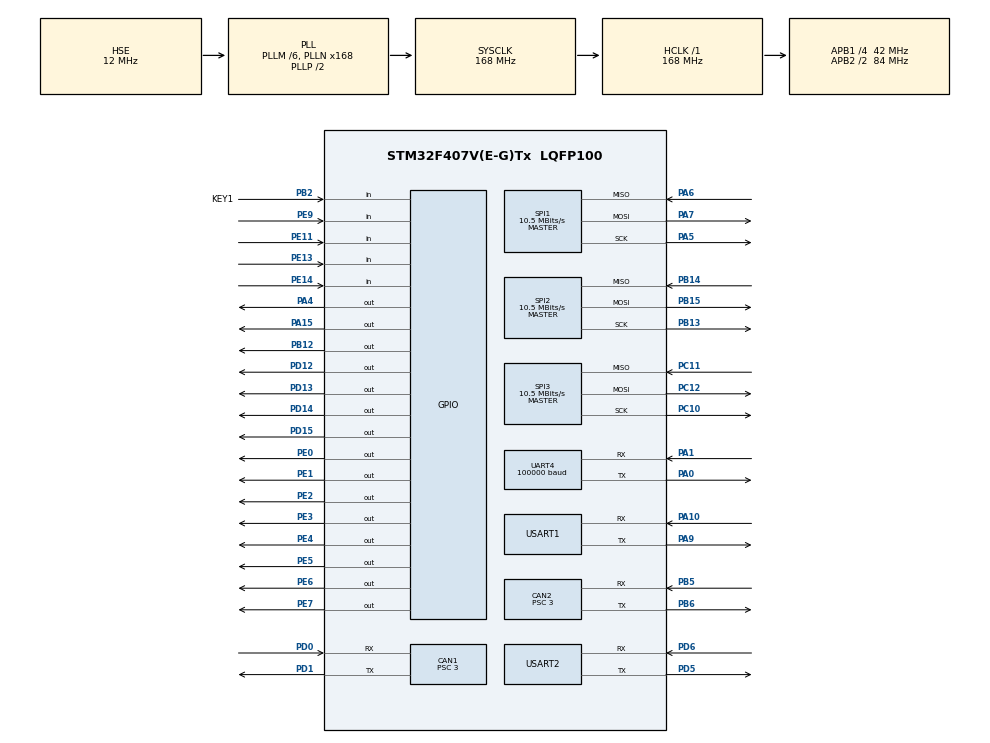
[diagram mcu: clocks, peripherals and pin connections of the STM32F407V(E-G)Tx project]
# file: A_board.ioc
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CAN1.BS1=CAN_BS1_9TQ
CAN1.BS2=CAN_BS2_4TQ
CAN1.CalculateBaudRate=1000000
CAN1.CalculateTimeBit=1000
CAN1.CalculateTimeQuantum=71.42857142857143
CAN1.Prescaler=3
CAN2.BS1=CAN_BS1_9TQ
CAN2.BS2=CAN_BS2_4TQ
CAN2.CalculateBaudRate=1000000
CAN2.CalculateTimeBit=1000
CAN2.CalculateTimeQuantum=71.42857142857143
CAN2.Prescaler=3
Dma.Request0=UART4_RX
Dma.Request1=USART1_RX
Dma.Request2=USART2_TX
Dma.UART4_RX.0.Direction=DMA_PERIPH_TO_MEMORY
Dma.UART4_RX.0.FIFOMode=DMA_FIFOMODE_DISABLE
Dma.UART4_RX.0.Instance=DMA1_Stream2
Dma.UART4_RX.0.MemDataAlignment=DMA_MDATAALIGN_BYTE
Dma.UART4_RX.0.MemInc=DMA_MINC_ENABLE
Dma.UART4_RX.0.Mode=DMA_CIRCULAR
Dma.UART4_RX.0.PeriphDataAlignment=DMA_PDATAALIGN_BYTE
Dma.UART4_RX.0.PeriphInc=DMA_PINC_DISABLE
Dma.UART4_RX.0.Priority=DMA_PRIORITY_MEDIUM
Dma.USART1_RX.1.Direction=DMA_PERIPH_TO_MEMORY
Dma.USART1_RX.1.FIFOMode=DMA_FIFOMODE_DISABLE
Dma.USART1_RX.1.Instance=DMA2_Stream2
Dma.USART1_RX.1.MemDataAlignment=DMA_MDATAALIGN_BYTE
Dma.USART1_RX.1.MemInc=DMA_MINC_ENABLE
Dma.USART1_RX.1.Mode=DMA_CIRCULAR
Dma.USART1_RX.1.PeriphDataAlignment=DMA_PDATAALIGN_BYTE
Dma.USART1_RX.1.PeriphInc=DMA_PINC_DISABLE
Dma.USART1_RX.1.Priority=DMA_PRIORITY_MEDIUM
Dma.USART2_TX.2.Direction=DMA_MEMORY_TO_PERIPH
Dma.USART2_TX.2.FIFOMode=DMA_FIFOMODE_DISABLE
Dma.USART2_TX.2.Instance=DMA1_Stream6
Dma.USART2_TX.2.MemDataAlignment=DMA_MDATAALIGN_BYTE
Dma.USART2_TX.2.MemInc=DMA_MINC_ENABLE
Dma.USART2_TX.2.Mode=DMA_NORMAL
Dma.USART2_TX.2.PeriphDataAlignment=DMA_PDATAALIGN_BYTE
Dma.USART2_TX.2.PeriphInc=DMA_PINC_DISABLE
Dma.USART2_TX.2.Priority=DMA_PRIORITY_HIGH
FREERTOS.INCLUDE_vTaskDelayUntil=1
FREERTOS.Tasks01=defaultTask,0,128,StartDefaultTask,Default,NULL,Dynamic,NULL,NULL
FREERTOS.configENABLE_FPU=1
FREERTOS.configTOTAL_HEAP_SIZE=20000
Mcu.Family=STM32F4
Mcu.Name=STM32F407V(E-G)Tx
Mcu.Package=LQFP100
NVIC.CAN1_RX0_IRQn=true\:5\:0\:false\:false\:true\:true\:true\:true\:true
NVIC.CAN2_RX1_IRQn=true\:5\:0\:false\:false\:true\:true\:true\:true\:true
NVIC.DMA1_Stream2_IRQn=true\:5\:0\:false\:false\:true\:true\:false\:true\:true
NVIC.DMA1_Stream6_IRQn=true\:5\:0\:false\:false\:true\:true\:false\:true\:true
NVIC.DMA2_Stream2_IRQn=true\:5\:0\:false\:false\:true\:true\:false\:true\:true
NVIC.PriorityGroup=NVIC_PRIORITYGROUP_4
NVIC.TIM8_TRG_COM_TIM14_IRQn=true\:15\:0\:false\:false\:true\:false\:false\:true\:true
NVIC.TimeBase=TIM8_TRG_COM_TIM14_IRQn
NVIC.TimeBaseIP=TIM14
NVIC.USART2_IRQn=true\:5\:0\:false\:false\:true\:true\:true\:true\:true
PA0-WKUP.Mode=Asynchronous
PA0-WKUP.Signal=UART4_TX
PA1.Mode=Asynchronous
PA1.Signal=UART4_RX
PA10.Mode=Asynchronous
PA10.Signal=USART1_RX
PA13.Mode=Serial_Wire
PA13.Signal=SYS_JTMS-SWDIO
PA14.Mode=Serial_Wire
PA14.Signal=SYS_JTCK-SWCLK
PA15.Signal=GPIO_Output
PA4.Signal=GPIO_Output
PA5.Mode=Full_Duplex_Master
PA5.Signal=SPI1_SCK
PA6.Mode=Full_Duplex_Master
PA6.Signal=SPI1_MISO
PA7.Mode=Full_Duplex_Master
PA7.Signal=SPI1_MOSI
PA9.Mode=Asynchronous
PA9.Signal=USART1_TX
PB12.PinState=GPIO_PIN_RESET
PB12.Signal=GPIO_Output
PB13.Mode=Full_Duplex_Master
PB13.Signal=SPI2_SCK
PB14.Mode=Full_Duplex_Master
PB14.Signal=SPI2_MISO
PB15.Mode=Full_Duplex_Master
PB15.Signal=SPI2_MOSI
PB2.GPIO_Label=KEY1
PB2.GPIO_PuPd=GPIO_PULLDOWN
PB2.Signal=GPIO_Input
PB5.Mode=CAN_Activate
PB5.Signal=CAN2_RX
PB6.Mode=CAN_Activate
PB6.Signal=CAN2_TX
PC10.Mode=Full_Duplex_Master
PC10.Signal=SPI3_SCK
PC11.Mode=Full_Duplex_Master
PC11.Signal=SPI3_MISO
PC12.Mode=Full_Duplex_Master
PC12.Signal=SPI3_MOSI
PD0.Mode=CAN_Activate
PD0.Signal=CAN1_RX
PD1.Mode=CAN_Activate
PD1.Signal=CAN1_TX
PD12.GPIO_PuPd=GPIO_PULLUP
PD12.PinState=GPIO_PIN_SET
PD12.Signal=GPIO_Output
PD13.GPIO_PuPd=GPIO_PULLUP
PD13.PinState=GPIO_PIN_SET
PD13.Signal=GPIO_Output
PD14.GPIO_PuPd=GPIO_PULLUP
PD14.PinState=GPIO_PIN_SET
PD14.Signal=GPIO_Output
PD15.GPIO_PuPd=GPIO_PULLUP
PD15.PinState=GPIO_PIN_SET
PD15.Signal=GPIO_Output
PD5.Mode=Asynchronous
PD5.Signal=USART2_TX
PD6.Mode=Asynchronous
PD6.Signal=USART2_RX
PD8.Signal=USART3_TX
PD9.Signal=USART3_RX
PE0.GPIO_ModeDefaultOutputPP=GPIO_MODE_OUTPUT_OD
PE0.GPIO_PuPd=GPIO_NOPULL
PE0.GPIO_Speed=GPIO_SPEED_FREQ_LOW
PE0.PinState=GPIO_PIN_RESET
PE0.Signal=GPIO_Output
PE1.GPIO_ModeDefaultOutputPP=GPIO_MODE_OUTPUT_OD
PE1.GPIO_PuPd=GPIO_NOPULL
PE1.GPIO_Speed=GPIO_SPEED_FREQ_LOW
PE1.PinState=GPIO_PIN_RESET
PE1.Signal=GPIO_Output
PE11.GPIO_PuPd=GPIO_PULLUP
PE11.Signal=GPIO_Input
PE13.GPIO_PuPd=GPIO_PULLUP
PE13.Signal=GPIO_Input
PE14.GPIO_PuPd=GPIO_PULLUP
PE14.Signal=GPIO_Input
PE2.GPIO_ModeDefaultOutputPP=GPIO_MODE_OUTPUT_OD
PE2.GPIO_PuPd=GPIO_NOPULL
PE2.GPIO_Speed=GPIO_SPEED_FREQ_LOW
PE2.PinState=GPIO_PIN_RESET
PE2.Signal=GPIO_Output
PE3.GPIO_ModeDefaultOutputPP=GPIO_MODE_OUTPUT_OD
PE3.GPIO_PuPd=GPIO_NOPULL
PE3.GPIO_Speed=GPIO_SPEED_FREQ_LOW
PE3.PinState=GPIO_PIN_RESET
PE3.Signal=GPIO_Output
PE4.GPIO_ModeDefaultOutputPP=GPIO_MODE_OUTPUT_OD
PE4.GPIO_PuPd=GPIO_NOPULL
PE4.GPIO_Speed=GPIO_SPEED_FREQ_LOW
PE4.PinState=GPIO_PIN_RESET
PE4.Signal=GPIO_Output
PE5.GPIO_ModeDefaultOutputPP=GPIO_MODE_OUTPUT_OD
PE5.GPIO_PuPd=GPIO_NOPULL
PE5.GPIO_Speed=GPIO_SPEED_FREQ_LOW
PE5.PinState=GPIO_PIN_RESET
PE5.Signal=GPIO_Output
PE6.GPIO_ModeDefaultOutputPP=GPIO_MODE_OUTPUT_OD
PE6.GPIO_PuPd=GPIO_NOPULL
PE6.GPIO_Speed=GPIO_SPEED_FREQ_LOW
PE6.PinState=GPIO_PIN_RESET
PE6.Signal=GPIO_Output
PE7.GPIO_ModeDefaultOutputPP=GPIO_MODE_OUTPUT_OD
PE7.GPIO_PuPd=GPIO_NOPULL
PE7.GPIO_Speed=GPIO_SPEED_FREQ_LOW
PE7.PinState=GPIO_PIN_RESET
PE7.Signal=GPIO_Output
PE9.GPIO_PuPd=GPIO_PULLUP
PE9.Signal=GPIO_Input
PH0-OSC_IN.Mode=HSE-External-Oscillator
PH0-OSC_IN.Signal=RCC_OSC_IN
PH1-OSC_OUT.Mode=HSE-External-Oscillator
PH1-OSC_OUT.Signal=RCC_OSC_OUT
ProjectManager.HeapSize=0x200
ProjectManager.StackSize=0x400
ProjectManager.TargetToolchain=MDK-ARM V5.32
RCC.48MHZClocksFreq_Value=84000000
RCC.AHBFreq_Value=168000000
RCC.APB1CLKDivider=RCC_HCLK_DIV4
RCC.APB1Freq_Value=42000000
RCC.APB1TimFreq_Value=84000000
RCC.APB2CLKDivider=RCC_HCLK_DIV2
RCC.APB2Freq_Value=84000000
RCC.APB2TimFreq_Value=168000000
RCC.CortexFreq_Value=168000000
RCC.EnbaleCSS=true
RCC.HCLKFreq_Value=168000000
RCC.HSE_VALUE=12000000
RCC.HSI_VALUE=16000000
RCC.LSE_VALUE=32768
RCC.PLLM=6
RCC.PLLN=168
RCC.PLLSourceVirtual=RCC_PLLSOURCE_HSE
RCC.SYSCLKFreq_VALUE=168000000
RCC.SYSCLKSource=RCC_SYSCLKSOURCE_PLLCLK
RCC.VCOOutputFreq_Value=336000000
SPI1.BaudRatePrescaler=SPI_BAUDRATEPRESCALER_8
SPI1.CalculateBaudRate=10.5 MBits/s
SPI1.Direction=SPI_DIRECTION_2LINES
SPI1.Mode=SPI_MODE_MASTER
SPI1.VirtualType=VM_MASTER
SPI2.BaudRatePrescaler=SPI_BAUDRATEPRESCALER_4
SPI2.CalculateBaudRate=10.5 MBits/s
SPI2.Direction=SPI_DIRECTION_2LINES
SPI2.Mode=SPI_MODE_MASTER
SPI2.VirtualType=VM_MASTER
SPI3.BaudRatePrescaler=SPI_BAUDRATEPRESCALER_4
SPI3.CalculateBaudRate=10.5 MBits/s
SPI3.Direction=SPI_DIRECTION_2LINES
SPI3.Mode=SPI_MODE_MASTER
SPI3.VirtualType=VM_MASTER
UART4.BaudRate=100000
UART4.Parity=PARITY_EVEN
UART4.StopBits=UART_STOPBITS_2
UART4.VirtualMode=Asynchronous
UART4.WordLength=WORDLENGTH_9B
USART1.VirtualMode=VM_ASYNC
USART2.VirtualMode=VM_ASYNC
VP_FREERTOS_VS_CMSIS_V1.Mode=CMSIS_V1
VP_SYS_VS_tim14.Mode=TIM14
board=custom

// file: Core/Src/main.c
/* USER CODE BEGIN Header */
/**
 ******************************************************************************
 * @file           : main.c
 * @brief          : Main program body
 ******************************************************************************
 * @attention
 *
 * Copyright (c) 2025 STMicroelectronics.
 * All rights reserved.
 *
 * This software is licensed under terms that can be found in the LICENSE file
 * in the root directory of this software component.
 * If no LICENSE file comes with this software, it is provided AS-IS.
 *
 ******************************************************************************
 */
/* USER CODE END Header */
#include "main.h"
#include "cmsis_os.h"
#include "can.h"
#include "dma.h"
#include "spi.h"
#include "usart.h"
#include "gpio.h"

/* USER CODE BEGIN Includes */
#include "sbus_set.h"
#include "bsp_can.h"
#include "CAN_receive.h"
#include "mcp2515.h"
#include "chassis.h"
#include "uart_task.h"
#include "solenoid_valves.h"
#include "arm.h"

/* ⚠️ Removed (2026-06-06 mechanical redesign):
   four_steering_wheel_ik.c/h — old 4 steering wheel kinematics
   upstairs.c/h — old YUN motor lifting
   arm.c/h — old single arm (now dual-arm, left+right)
   solenoid_valves.c/h — old 10-way solenoid valves */
/* ✅ New: chassis.c/h — omni wheel kinematics + independent lift control */
/* USER CODE END Includes */

/* USER CODE BEGIN PD */
/* 夹爪翻转电机速度 (rad/s) — 模式区分 */
#define GRIPPER_FLIP_VEL_SLOW  0.5f   // 遥控器手动慢速
#define GRIPPER_FLIP_VEL_FAST  2.0f   // 串口自动快速
/* USER CODE END PD */

/* USER CODE BEGIN PV */
uint16_t led_buf = 0x0001;

/* Chassis velocity setpoints */
float set_vx = 0.0f;
float set_vy = 0.0f;
float set_vw = 0.0f;

/* SBUS health monitoring */
#define SBUS_TIMEOUT_MS 100
static uint32_t last_sbus_tick = 0;

/* System enable state (centralized CH4 edge detection) */
bool sys_enabled = false;
static bool last_ch4 = false;

/* 夹爪翻转电机 (hcan3 MCP2515, POS 模式, ID 0x01) */
static motor_t gripper_flip_motor;

/* Gripper flip motor position: 0=竖起来, 1.57=翻下去 */
float gripper_flip_pos = 0.0f;
bool gripper_flip_ready = false;   // 首次CH7操作后置true, 防止上电夹人
/* USER CODE END PV */

void SystemClock_Config(void);
void MX_FREERTOS_Init(void);

/* USER CODE BEGIN 0 */

/* ====================== Helpers ====================== */

bool sbus_frame_valid(void)
{
	return (sbus_rx_buf[23] == 0x00 && sbus_rx_buf[0] == 0x0f && sbus_rx_buf[24] == 0x00);
}

static inline bool sbus_connected(void)
{
	return (xTaskGetTickCount() - last_sbus_tick) < pdMS_TO_TICKS(SBUS_TIMEOUT_MS);
}

bool ch_high(int ch)
{
	return sbus_ch.ch[ch] > 1700;
}

/**
 * Centralized CH4 edge detection with SBUS disconnection protection.
 * Call once per SBUS frame cycle.
 */
static void system_enable_handler(void)
{
	bool ch4 = sbus_connected() && sbus_frame_valid() && ch_high(4);

	if (ch4 && !last_ch4)
	{
		/* CH4 rising edge: 先使能电机, 后置标志 (防止控帧先于使能到达) */
		chassis_enable(&hcan1);               // CAN1: 全向轮×4 + 抬升×4
		arm_left_enable(&hcan2);                // CAN2: 左臂 ID 1-3
		arm_right_enable(&hcan2);               // CAN2: 右臂 ID 4-6
		dm_enable_mcp2515(&hcan3, &gripper_flip_motor);   // hcan3: 夹爪翻转电机
		sys_enabled = true;
	}
	else if (!ch4 && last_ch4)
	{
		/* CH4 falling edge: disable all subsystems & safe stop */
		sys_enabled = false;
		chassis_disable(&hcan1);              // CAN1: 全向轮×4 + 抬升×4
		arm_left_disable(&hcan2);               // CAN2: 左臂 ID 1-3
		arm_right_disable(&hcan2);              // CAN2: 右臂 ID 4-6
		/* 安全释放: 夹紧夹爪 + 松开吸盘, 先发后失能 */
		YV1(0);                                 // 夹爪夹紧
		YV2(0);                                 // 左吸盘松开
		YV3(0);                                 // 右吸盘松开
		YV_flash_mcp2515(&hcan3);               // 发送电磁阀状态
		dm_disable_mcp2515(&hcan3, &gripper_flip_motor);  // hcan3: 夹爪翻转电机
		set_vx = 0;
		set_vy = 0;
		set_vw = 0;
	}

	last_ch4 = ch4;
}

void led_task(void *parameter)
{
	while (1)
	{
		HAL_GPIO_TogglePin(GPIOE, led_buf);

		if (led_buf < 0x0100)
		{
			led_buf <<= 1;
		}
		else
		{
			led_buf = 0x0001;
		}

		vTaskDelay(200);
	}
}

void sbus_task(void *parameter)
{
	static bool ch5_was_high = false;

	while (1)
	{
		rx_set(&sbus_ch);

		/* Update SBUS health timestamp on valid frame */
		if (sbus_frame_valid())
			last_sbus_tick = xTaskGetTickCount();

		/* Update system enable state from CH4 */
		system_enable_handler();

		/* Manual mode: map remote channels to velocities (仅帧有效时, 防干扰误切串口) */
		if (sys_enabled && sbus_frame_valid() && !ch_high(5))
		{
			int16_t ch_val;

			ch_val = sbus_ch.ch[2];
			set_vx = (ch_val >= 1017 && ch_val <= 1030) ? 0 : Map(ch_val, 256, 1800, -10000, 10000);

			ch_val = sbus_ch.ch[3];
			set_vy = (ch_val >= 1017 && ch_val <= 1030) ? 0 : Map(ch_val, 240, 1780, -10000, 10000);

			ch_val = sbus_ch.ch[0];
			set_vw = (ch_val >= 1020 && ch_val <= 1028) ? 0 : Map(ch_val, 268, 1783, -20000, 20000);

			/* TODO: CH8/CH9 gripper control (old YV3/YV4/YV5 removed) */
		}

		/* CH6 + CH7 组合控制:
		   CH6低档(240)  + CH7沿 → 翻转电机 0↔1.57
		   CH6中档(1024) + CH7沿 → 夹爪气缸 YV1 开↔关 */
			{
				static bool last_ch7_state = false;
				int16_t ch6_val = sbus_ch.ch[6];
				bool ch7_now = sbus_ch.ch[7] > 1700;

				if (sbus_frame_valid() && !last_ch7_state && ch7_now)
				{
					/* CH7 上升沿 (防松开二次触发+last仅有效帧更新) */
					if (ch6_val < 632)              // CH6 低档 ~240: 翻转电机
					{
						gripper_flip_pos   = (gripper_flip_pos < 0.5f) ? 1.57f : 0.0f;
						gripper_flip_ready = true;
					}
					else if (ch6_val < 1415)        // CH6 中档 ~1024: 夹爪气缸
					{
						YV1(2);                     // 翻转 YV1
					}
					else if (ch_high(6))             // CH6 升降模式: 左右吸盘全开/全关
					{
						static bool sucker_on = false;
						sucker_on = !sucker_on;
						YV2(sucker_on ? 1 : 0);     // 左吸盘
						YV3(sucker_on ? 1 : 0);     // 右吸盘
					}
				}
				if (sbus_frame_valid())
					last_ch7_state = ch7_now;
			}

		/* CH5 falling edge: notify upper computer on mode switch */
		if (sbus_frame_valid() && ch_high(4))
		{
			bool ch5_high = ch_high(5);
			if (!ch5_was_high && ch5_high)  // rising edge: manual→auto
			{
				uart_tx_ch5_notify();
			}
			ch5_was_high = ch5_high;
		}

		/* Safe defaults when disabled */
		if (!sys_enabled)
		{
			set_vx = 0;
			set_vy = 0;
			set_vw = 0;
		}

		vTaskDelay(10);
	}
}

void up_cs_task(void *parameter)
{
	while (1)
	{
		if (sys_enabled)
		{
			float lift_vel = LIFT_VEL_SLOW;     // 抬升速度, 由 lift_mode 控制
			float flip_vel = GRIPPER_FLIP_VEL_SLOW; // 夹爪翻转速度, 手动慢/自动快

			if (sbus_frame_valid() && !ch_high(5))
			{
				/* 手动模式升降控制 (仅帧有效):
				   CH6高(>1700): CH8旋钮同时控制前后升降 (0~420mm)
				   CH6中/低:     保持当前高度不变 (避免旋钮瞬跳) */
				if (ch_high(6))
				{
					int16_t ch8 = sbus_ch.ch[8];
					float mm = (ch8 >= 1021 && ch8 <= 1027)
									? 0.0f
									: Map(ch8, 240, 1800, 0.0f, 420.0f);
					lift_set(0, mm);  // FR
					lift_set(1, mm);  // FL
					lift_set(2, mm);  // BL
					lift_set(3, mm);  // BR
				}
				lift_vel = LIFT_VEL_SLOW;             // 手动模式慢速抬升
				flip_vel = GRIPPER_FLIP_VEL_SLOW;     // 手动模式慢速翻转
			}
			else if (sbus_frame_valid())
			{
				/* Auto: 串口协议控制, 前后分组 */
				lift_set(0, (float)lift_front_target);  // FR
				lift_set(1, (float)lift_front_target);  // FL
				lift_set(2, (float)lift_back_target);   // BL
				lift_set(3, (float)lift_back_target);   // BR
				lift_vel = (lift_mode == 1) ? LIFT_VEL_FAST : LIFT_VEL_SLOW;
				flip_vel = GRIPPER_FLIP_VEL_FAST;       // 自动模式快速翻转

				/* 武器头控制: weapon_pitch→翻转电机, weapon_gripper→夹爪气缸 */
				if (weapon_pitch == 1)      // 平行地面 → 翻下
				{
					gripper_flip_pos = 1.57f;
					gripper_flip_ready = true;
				}
				else if (weapon_pitch == 2) // 垂直地面 → 竖起
				{
					gripper_flip_pos = 0.0f;
					gripper_flip_ready = true;
				}
				// weapon_pitch=0 保持, 不更新

				if (weapon_gripper == 1)      { YV1(1); }  // 打开夹爪
				else if (weapon_gripper == 2) { YV1(0); }  // 闭合夹爪
				// weapon_gripper=0 保持, 不更新

				/* 左吸盘 YV2: 0=保持 1=吸气(YV2开) 2=松开(YV2关) */
				if (left_sucker == 1)      { YV2(1); }
				else if (left_sucker == 2) { YV2(0); }

				/* 右吸盘 YV3: 0=保持 1=吸气(YV3开) 2=松开(YV3关) */
				if (right_sucker == 1)      { YV3(1); }
				else if (right_sucker == 2) { YV3(0); }
			}

			/* CAN1 抬升电机位置控制 */
			lift_update(&hcan1, lift_vel);

			/* 夹爪翻转电机 — 上电不动作, CH7首次操作后才开始控制 */
			if (gripper_flip_ready)
				dm_pos_ctrl_mcp2515(&hcan3, 0x01, gripper_flip_pos, flip_vel);
			YV_flash_mcp2515(&hcan3);   // 电磁阀状态刷新 (每周期)
		}

		vTaskDelay(50);
	}
}

void arm_task(void *parameter)
{
	/*
	 * 左右双机械臂控制 (CAN2, DM4340 位置模式):
	 *   手动模式: 保持当前位置 (POS电机自动保持)
	 *   自动模式: 串口协议控制, 各关节独立速度
	 */
	while (1)
	{
		if (sys_enabled)
		{
			if (sbus_frame_valid() && ch_high(5))
			{
				/* 自动模式: 各关节独立速度 (arm.h) */
				bool fast = (lift_mode == 1);
				arm_left_update(&hcan2, fast);
				arm_right_update(&hcan2, fast);
			}
			/* 手动模式: 保持当前位置 (POS电机自动保持) */
			vTaskDelay(50);
		}

		vTaskDelay(10);
	}
}

void chassis_task(void *parameter)
{
	while (1)
	{
		if (sys_enabled)
		{
			chassis_update(&hcan1);   // 全向轮运动学 + CAN1 MIT 驱动
		}
		else
		{
			vTaskDelay(2);
		}
	}
}

void start_task(void *parameter)
{
	while (1)
	{
		sbus_rx_init();
		can_filter_init();
		uart_rx_init();
		chassis_init(&hcan1);
		arm_init();    // 注册 6 个 DM_4340 机械臂电机
		dm_init(&gripper_flip_motor, 0x01, DM_MODE_POS, DM_4310);  // 夹爪翻转

		mcp2515_sys_init(&hcan3, &hspi1, GPIOA, GPIO_PIN_4);//电磁阀和翻转电机

		/* prio: led(2) > sbus(1) > chassis/up_cs/arm/uart(0) */
		xTaskCreate(led_task,     "led_task",     128, NULL, 2, NULL);
		xTaskCreate(sbus_task,    "remote_task",  256, NULL, 1, NULL);
		xTaskCreate(uart_task,    "uart_task",    1024, NULL, 0, NULL);
		xTaskCreate(chassis_task, "chassis_task", 512, NULL, 0, NULL);
		xTaskCreate(up_cs_task,   "up_cs_task",   512, NULL, 0, NULL);
		xTaskCreate(arm_task,     "arm_task",     512, NULL, 0, NULL);

		vTaskDelete(NULL);
	}
}
/* USER CODE END 0 */

int main(void)
{

  /* MCU Configuration--------------------------------------------------------*/

  /* Reset of all peripherals, Initializes the Flash interface and the Systick. */
  HAL_Init();

  /* Configure the system clock */
  SystemClock_Config();

  /* Initialize all configured peripherals */
  MX_GPIO_Init();
  MX_DMA_Init();
  MX_CAN1_Init();
  MX_CAN2_Init();
  MX_SPI1_Init();
  MX_SPI2_Init();
  MX_SPI3_Init();
  MX_UART4_Init();
  MX_USART1_UART_Init();
  MX_USART2_UART_Init();
  /* USER CODE BEGIN 2 */
	if (xTaskCreate(start_task, "start_task", 256, NULL, 0, NULL) != pdPASS)
	{
		while (1);
	}

  /* USER CODE END 2 */

  /* Call init function for freertos objects (in cmsis_os2.c) */
  MX_FREERTOS_Init();

  /* Start scheduler */
  osKernelStart();

  /* We should never get here as control is now taken by the scheduler */

  /* Infinite loop */
	while (1)
	{

	}
}

void SystemClock_Config(void)
{
  RCC_OscInitTypeDef RCC_OscInitStruct = {0};
  RCC_ClkInitTypeDef RCC_ClkInitStruct = {0};

  /** Configure the main internal regulator output voltage
  */
  __HAL_RCC_PWR_CLK_ENABLE();
  __HAL_PWR_VOLTAGESCALING_CONFIG(PWR_REGULATOR_VOLTAGE_SCALE1);

  /** Initializes the RCC Oscillators according to the specified parameters
  * in the RCC_OscInitTypeDef structure.
  */
  RCC_OscInitStruct.OscillatorType = RCC_OSCILLATORTYPE_HSE;
  RCC_OscInitStruct.HSEState = RCC_HSE_ON;
  RCC_OscInitStruct.PLL.PLLState = RCC_PLL_ON;
  RCC_OscInitStruct.PLL.PLLSource = RCC_PLLSOURCE_HSE;
  RCC_OscInitStruct.PLL.PLLM = 6;
  RCC_OscInitStruct.PLL.PLLN = 168;
  RCC_OscInitStruct.PLL.PLLP = RCC_PLLP_DIV2;
  RCC_OscInitStruct.PLL.PLLQ = 4;
  if (HAL_RCC_OscConfig(&RCC_OscInitStruct) != HAL_OK)
  {
    Error_Handler();
  }

  /** Initializes the CPU, AHB and APB buses clocks
  */
  RCC_ClkInitStruct.ClockType = RCC_CLOCKTYPE_HCLK|RCC_CLOCKTYPE_SYSCLK
                              |RCC_CLOCKTYPE_PCLK1|RCC_CLOCKTYPE_PCLK2;
  RCC_ClkInitStruct.SYSCLKSource = RCC_SYSCLKSOURCE_PLLCLK;
  RCC_ClkInitStruct.AHBCLKDivider = RCC_SYSCLK_DIV1;
  RCC_ClkInitStruct.APB1CLKDivider = RCC_HCLK_DIV4;
  RCC_ClkInitStruct.APB2CLKDivider = RCC_HCLK_DIV2;

  if (HAL_RCC_ClockConfig(&RCC_ClkInitStruct, FLASH_LATENCY_5) != HAL_OK)
  {
    Error_Handler();
  }

  /** Enables the Clock Security System
  */
  HAL_RCC_EnableCSS();
}

/* USER CODE BEGIN 4 */
/* (HAL_UART_RxCpltCallback moved to Lib/uart_task.c) */
/* USER CODE END 4 */

void HAL_TIM_PeriodElapsedCallback(TIM_HandleTypeDef *htim)
{
  if (htim->Instance == TIM14)
  {
    HAL_IncTick();
  }
}

void Error_Handler(void)
{
	__disable_irq();
	while (1)
	{
	}
}

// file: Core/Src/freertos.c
/* USER CODE BEGIN Header */
/**
  ******************************************************************************
  * File Name          : freertos.c
  * Description        : Code for freertos applications
  ******************************************************************************
  * @attention
  *
  * Copyright (c) 2025 STMicroelectronics.
  * All rights reserved.
  *
  * This software is licensed under terms that can be found in the LICENSE file
  * in the root directory of this software component.
  * If no LICENSE file comes with this software, it is provided AS-IS.
  *
  ******************************************************************************
  */
/* USER CODE END Header */

#include "FreeRTOS.h"
#include "task.h"
#include "main.h"
#include "cmsis_os.h"

osThreadId defaultTaskHandle;

void StartDefaultTask(void const * argument);

void MX_FREERTOS_Init(void); /* (MISRA C 2004 rule 8.1) */

/* GetIdleTaskMemory prototype (linked to static allocation support) */
void vApplicationGetIdleTaskMemory( StaticTask_t **ppxIdleTaskTCBBuffer, StackType_t **ppxIdleTaskStackBuffer, uint32_t *pulIdleTaskStackSize );

/* USER CODE BEGIN GET_IDLE_TASK_MEMORY */
static StaticTask_t xIdleTaskTCBBuffer;
static StackType_t xIdleStack[configMINIMAL_STACK_SIZE];

void vApplicationGetIdleTaskMemory( StaticTask_t **ppxIdleTaskTCBBuffer, StackType_t **ppxIdleTaskStackBuffer, uint32_t *pulIdleTaskStackSize )
{
  *ppxIdleTaskTCBBuffer = &xIdleTaskTCBBuffer;
  *ppxIdleTaskStackBuffer = &xIdleStack[0];
  *pulIdleTaskStackSize = configMINIMAL_STACK_SIZE;
  /* place for user code */
}
/* USER CODE END GET_IDLE_TASK_MEMORY */

void MX_FREERTOS_Init(void) {

  /* Create the thread(s) */
  /* definition and creation of defaultTask */
  osThreadDef(defaultTask, StartDefaultTask, osPriorityNormal, 0, 128);
  defaultTaskHandle = osThreadCreate(osThread(defaultTask), NULL);

}

void StartDefaultTask(void const * argument)
{
  /* USER CODE BEGIN StartDefaultTask */
  /* Infinite loop */
  for(;;)
  {
    osDelay(1);
    vTaskDelete(NULL);
  }
  /* USER CODE END StartDefaultTask */
}
